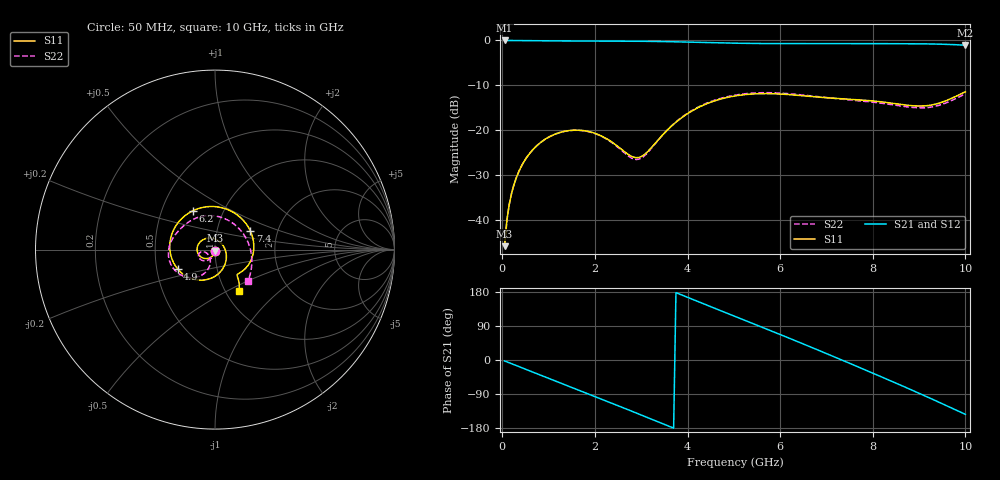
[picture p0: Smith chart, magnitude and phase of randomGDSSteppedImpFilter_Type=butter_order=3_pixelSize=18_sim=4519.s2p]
! freq	dB(S11)	phase(S11)	dB(S12)	phase(S12)
!  dB(S21)	phase(S21)	dB(S22)	phase(S22)
!S-par simulation data
#  GHz  S  DB  R 50
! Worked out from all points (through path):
!   200 points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, 50 MHz to 10 GHz, reference 50 ohm
!   highest |S21| = 0.00 dB at 50 MHz (marker M1); lowest = -1.1 dB at 10 GHz (marker M2)
!   group delay of S21, straight-line fit = 139 ps
!   lowest |S11| = -45.8 dB at 50 MHz (marker M3), VSWR 1.01, Z = 50 - j0.51 ohm
!   |S11| at or under -10 dB: start of sweep to end of sweep
!   |S22| runs from -45.8 to -11.6 dB; largest |S21 - S12| = 0
!   S11 on the Smith chart (normalised r, x): 50 MHz: 1.00, -0.01; 4.9 GHz: 0.64, -0.15; 6.2 GHz: 0.72, +0.33; 7.4 GHz: 1.44, +0.32; 10 GHz: 1.15, -0.58
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0.05  -45.85 -90.0  -0.00 -2.5  -0.00 -2.5  -45.84 -89.2
0.1  -40.01 -93.9  -0.01 -4.9  -0.01 -4.9  -40.00 -92.5
0.2  -34.10 -100.5  -0.02 -9.8  -0.02 -9.8  -34.09 -97.7
0.5  -26.49 -118.1  -0.04 -24.3  -0.04 -24.3  -26.47 -111.1
1.05  -21.30 -149.5  -0.09 -50.7  -0.09 -50.7  -21.30 -133.7
1.75  -20.09 168.0  -0.14 -84.3  -0.14 -84.3  -20.12 -158.8
2.3  -22.19 126.2  -0.15 -110.8  -0.15 -110.8  -22.31 -170.4
2.9  -26.13 41.8  -0.18 -140.2  -0.18 -140.2  -26.53 -142.9
3.4  -21.77 -39.9  -0.24 -164.9  -0.24 -164.9  -21.81 -109.1
4.1  -15.69 -99.8  -0.39 160.4  -0.39 160.4  -15.58 -118.9
4.9  -12.61 -152.6  -0.59 121.2  -0.59 121.2  -12.44 -144.5
5.05  -12.33 -162.3  -0.62 113.9  -0.62 113.9  -12.15 -149.4
5.6  -11.86 161.6  -0.69 87.0  -0.69 87.0  -11.65 -167.2
6.2  -12.08 119.5  -0.70 57.4  -0.70 57.4  -11.88 175.2
6.7  -12.52 81.8  -0.69 32.2  -0.69 32.2  -12.40 162.2
7.4  -13.05 28.5  -0.69 -3.6  -0.69 -3.6  -13.15 143.8
7.85  -13.35 -1.9  -0.70 -26.9  -0.70 -26.9  -13.59 128.3
8.35  -13.90 -28.7  -0.72 -53.0  -0.72 -53.0  -14.22 103.8
8.75  -14.44 -42.5  -0.73 -74.3  -0.73 -74.3  -14.81 76.0
9.15  -14.56 -48.8  -0.77 -96.0  -0.77 -96.0  -14.99 39.6
9.55  -13.56 -51.8  -0.86 -118.1  -0.86 -118.1  -14.04 -1.5
10  -11.44 -60.3  -1.06 -143.4  -1.06 -143.4  -11.90 -43.9
